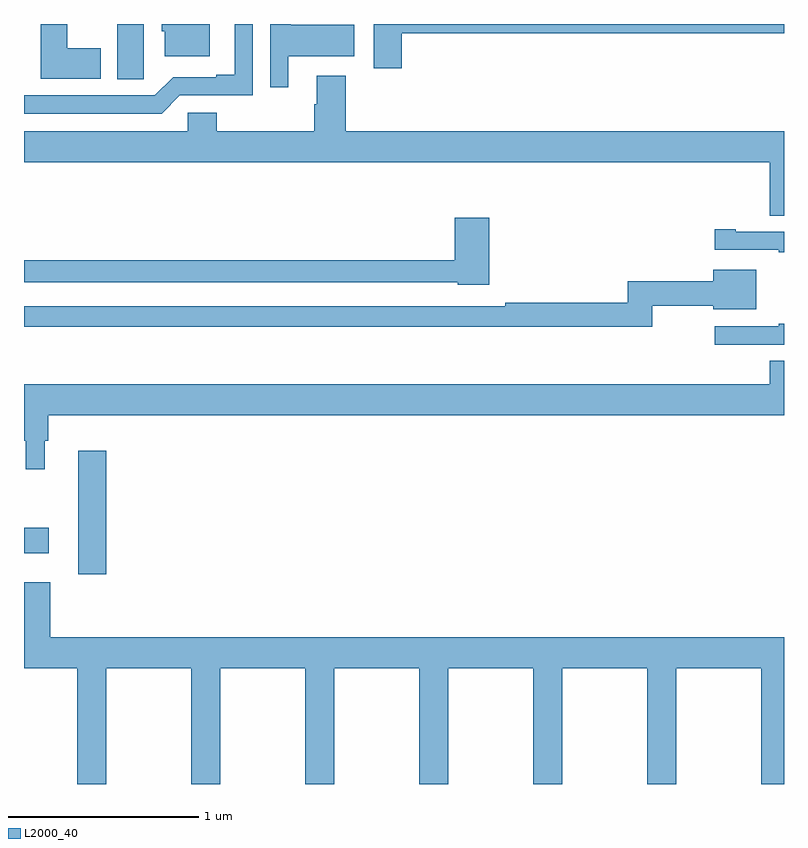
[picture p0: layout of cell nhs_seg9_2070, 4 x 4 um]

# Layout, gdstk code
import gdstk
lib = gdstk.Library(unit=1e-6, precision=1e-09)
def R(c, l, rs):  # rectangles x0, y0, x1, y1
    for r in rs: c.add(gdstk.rectangle(r[:2], r[2:], *l))
def P(c, l, *ps):  # polygons
    for p in ps: c.add(gdstk.Polygon(p, *l))
L2000_40 = (2000, 40)

nhs_seg9_2070 = lib.new_cell('nhs_seg9_2070')
R(nhs_seg9_2070, L2000_40, [(229.286,1175.604,229.433,1176.253), (229,1175.714,229.129,1175.849)])
P(nhs_seg9_2070, L2000_40, [(230.392,1178.33),(230.737,1178.33),(230.737,1178.496),(230.404,1178.496),(230.404,1178.5),(230.295,1178.5),(230.295,1178.166),(230.392,1178.166)],
  [(229.405,1178.373),(229.228,1178.373),(229.228,1178.5),(229.088,1178.5),(229.088,1178.213),(229.405,1178.213)],
  [(229.629,1178.32),(229.63,1178.32),(229.63,1178.5),(229.49,1178.5),(229.49,1178.209),(229.629,1178.209)],
  [(229.821,1178.124),(230.205,1178.124),(230.205,1178.5),(230.108,1178.5),(230.108,1178.233),(230.012,1178.233),(230.012,1178.22),(229.785,1178.22),(229.689,1178.124),(229,1178.124),(229,1178.028),(229.725,1178.028)],
  [(229.978,1178.5),(229.724,1178.5),(229.724,1178.463),(229.742,1178.463),(229.742,1178.33),(229.978,1178.33)],
  [(230.987,1178.452),(233,1178.452),(233,1178.5),(230.84,1178.5),(230.84,1178.268),(230.987,1178.268)],
  [(233,1177.936),(230.693,1177.936),(230.693,1178.227),(230.54,1178.227),(230.54,1178.078),(230.528,1178.078),(230.528,1177.936),(230.015,1177.936),(230.015,1178.034),(229.863,1178.034),(229.863,1177.936),(229,1177.936),(229,1177.772),(232.925,1177.772),(232.925,1177.492),(233,1177.492)],
  [(231.449,1177.48),(231.266,1177.48),(231.266,1177.256),(229,1177.256),(229,1177.14),(231.282,1177.14),(231.282,1177.127),(231.449,1177.127)],
  [(233,1177.407),(232.747,1177.407),(232.747,1177.42),(232.635,1177.42),(232.635,1177.311),(232.973,1177.311),(232.973,1177.299),(233,1177.299)],
  [(232.306,1177.017),(232.628,1177.017),(232.628,1176.998),(232.855,1176.998),(232.855,1177.207),(232.628,1177.207),(232.628,1177.145),(232.177,1177.145),(232.177,1177.034),(231.532,1177.034),(231.532,1177.014),(229,1177.014),(229,1176.906),(232.306,1176.906)],
  [(233,1176.922),(232.973,1176.922),(232.973,1176.909),(232.635,1176.909),(232.635,1176.813),(233,1176.813)],
  [(229.108,1176.306),(229.127,1176.306),(229.127,1176.44),(233,1176.44),(233,1176.728),(232.925,1176.728),(232.925,1176.604),(229,1176.604),(229,1176.306),(229.01,1176.306),(229.01,1176.156),(229.108,1176.156)],
  [(229.139,1175.563),(229,1175.563),(229,1175.108),(229.279,1175.108),(229.279,1174.5),(229.434,1174.5),(229.434,1175.108),(229.879,1175.108),(229.879,1174.5),(230.034,1174.5),(230.034,1175.108),(230.479,1175.108),(230.479,1174.5),(230.634,1174.5),(230.634,1175.108),(231.079,1175.108),(231.079,1174.5),(231.234,1174.5),(231.234,1175.108),(231.679,1175.108),(231.679,1174.5),(231.834,1174.5),(231.834,1175.108),(232.279,1175.108),(232.279,1174.5),(232.434,1174.5),(232.434,1175.108),(232.879,1175.108),(232.879,1174.5),(233,1174.5),(233,1175.272),(229.139,1175.272)])

lib.write_gds('nhs_seg9_2070.gds')
